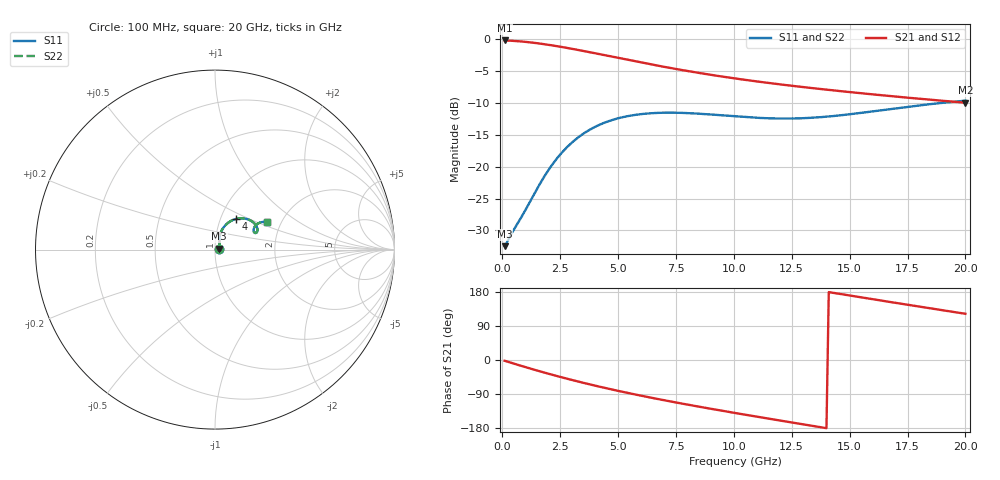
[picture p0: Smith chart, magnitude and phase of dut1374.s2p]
! Touchstone file exported from HFSS 2024.1.0
!  File:  C:/UserFiles/LocalFiles/RDL_TSV_Batchsim/temp_RDL_TSV_1374_1780399478.aedt
!  Generated:  07:42:00 PM Jun  2, 2026
!  Design:  RDL_TSV
!  Project:  temp_RDL_TSV_1374_1780399478
!  Setup:  Setup1
!  Solution:  Sweep
! Variables:
!  dtsv = 8.7um
!  hbump = 3um
!  htsv = 68.86um
!  ldown = 434.44um
!  lrdl = 576.89um
!  p = 40
!  p1 = 43.88um
!  rhole = 10um
!  subl = 3610.88um
!  t = 450um
!  tdown = 2.09um
!  trdl = 3.74um
!  viad = 10um
!  wdown = 17.19um
!  wrdl = 21.7um
!  xbump = 18um
# GHz S MA R 50.000000
! Terminal data exported
! Port[1] = TM1_1_T1
! Port[2] = TM1_4_T1
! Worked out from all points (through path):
!   200 points, 100 MHz to 20 GHz, reference 50 ohm
!   highest |S21| = -0.21 dB at 100 MHz (marker M1); lowest = -10.0 dB at 20 GHz (marker M2)
!   group delay of S21, straight-line fit = 31.5 ps
!   lowest |S11| = -32.5 dB at 100 MHz (marker M3), VSWR 1.05, Z = 52.4 + j0.48 ohm
!   |S11| at or under -10 dB: start of sweep to 18.98 GHz
!   |S22| runs from -32.5 to -9.7 dB; largest |S21 - S12| = 1e-14
!   S11 on the Smith chart (normalised r, x): 100 MHz: 1.05, +0.01; 4 GHz: 1.18, +0.42; 20 GHz: 1.70, +0.58
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0.1  0.02379 11.1  0.9764 -2.0  0.9764 -2.0  0.02379 11.1
! Gamma 0 0 0 0
! Port Impedance 50 0 50 0
0.5  0.03212 37.9  0.9686 -9.6  0.9686 -9.6  0.03212 38.0
0.9  0.04245 54.2  0.956 -17.0  0.956 -17.0  0.04245 54.2
1.4  0.0621 66.9  0.9345 -26.0  0.9345 -26.0  0.0621 66.9
1.8  0.08292 70.9  0.9136 -33.0  0.9136 -33.0  0.08293 70.8
2.2  0.1063 71.1  0.8905 -39.7  0.8905 -39.7  0.1063 71.1
2.6  0.1305 69.1  0.8659 -46.2  0.8659 -46.2  0.1305 69.1
3  0.1541 65.9  0.8403 -52.6  0.8403 -52.6  0.1541 65.9
3.5  0.1813 61.2  0.8078 -60.2  0.8078 -60.2  0.1813 61.1
4  0.2048 56.1  0.7754 -67.6  0.7754 -67.6  0.2048 56.1
4.7  0.2307 49.1  0.7312 -77.4  0.7312 -77.4  0.2307 49.1
5.4  0.2487 42.8  0.6894 -86.7  0.6894 -86.7  0.2486 42.7
6.8  0.2644 32.4  0.6153 -104.0  0.6153 -104.0  0.2643 32.4
7.6  0.2645 28.1  0.579 -113.2  0.579 -113.2  0.2645 28.1
8.4  0.2608 25.0  0.5468 -122.1  0.5468 -122.1  0.2607 25.0
10.1  0.2476 22.2  0.4903 -140.3  0.4903 -140.3  0.2475 22.2
11.7  0.2389 23.6  0.4486 -156.8  0.4486 -156.8  0.2388 23.5
13.4  0.242 27.2  0.4127 -173.9  0.4127 -173.9  0.2418 27.2
15  0.2575 30.2  0.3844 170.2  0.3844 170.2  0.2571 30.2
16.7  0.2821 31.2  0.3585 153.6  0.3585 153.6  0.2816 31.2
18.3  0.3066 30.2  0.3372 138.1  0.3372 138.1  0.306 30.1
20  0.3289 27.6  0.3175 122.0  0.3175 122.0  0.3282 27.6
